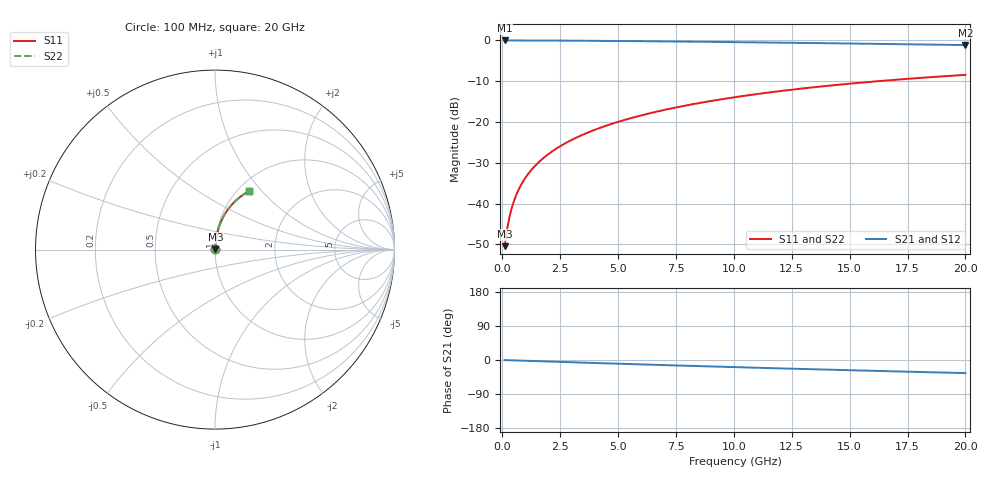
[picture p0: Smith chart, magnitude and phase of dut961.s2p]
! Touchstone file exported from HFSS 2024.1.0
!  File:  C:/UserFiles/LocalFiles/RDL_TSV_Batchsim/temp_RDL_bottom_961_1779942641.aedt
!  Generated:  12:33:13 PM May 28, 2026
!  Design:  RDL_bottom
!  Project:  temp_RDL_bottom_961_1779942641
!  Setup:  Setup1
!  Solution:  Sweep
! Variables:
!  dtsv = 10.80580581um
!  hbump = 3um
!  htsv = 97.01um
!  ldown = 442.63um
!  lrdl = 100um
!  p = 40
!  p1 = 53.14um
!  rhole = 1um
!  t = 450um
!  tdown = 4.78um
!  trdl = 3.915915916um
!  wdown = 16.04um
!  wrdl = 20um
# GHz S MA R 50.000000
! Terminal data exported
! Port[1] = RDL1_T1
! Port[2] = RDL1_T2
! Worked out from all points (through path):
!   200 points, 100 MHz to 20 GHz, reference 50 ohm
!   highest |S21| = -0.02 dB at 100 MHz (marker M1); lowest = -1.1 dB at 20 GHz (marker M2)
!   group delay of S21, straight-line fit = 4.78 ps
!   lowest |S11| = -50.4 dB at 100 MHz (marker M3), VSWR 1.01, Z = 50.2 + j0.211 ohm
!   |S11| at or under -10 dB: start of sweep to 16.22 GHz
!   |S22| runs from -50.4 to -8.4 dB; largest |S21 - S12| = 3.9e-15
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0.1  0.003013 44.2  0.9978 -0.2  0.9978 -0.2  0.003013 44.3
! Gamma 0 0 0 0
! Port Impedance 50 0 50 0
0.2  0.004737 62.5  0.9978 -0.4  0.9978 -0.4  0.004737 62.5
0.3  0.006677 70.4  0.9977 -0.6  0.9977 -0.6  0.006677 70.4
0.4  0.008682 74.6  0.9975 -0.8  0.9975 -0.8  0.008682 74.6
0.5  0.01071 77.1  0.9974 -1.0  0.9974 -1.0  0.01071 77.1
0.7  0.01476 79.9  0.9972 -1.4  0.9972 -1.4  0.01476 79.9
0.8  0.01678 80.7  0.9971 -1.6  0.9971 -1.6  0.01678 80.7
1  0.02079 81.8  0.9968 -2.0  0.9968 -2.0  0.02079 81.8
1.2  0.02478 82.5  0.9965 -2.4  0.9965 -2.4  0.02478 82.4
1.4  0.02875 82.9  0.9962 -2.8  0.9962 -2.8  0.02875 82.9
1.7  0.03468 83.3  0.9955 -3.4  0.9955 -3.4  0.03468 83.3
2  0.04062 83.5  0.9948 -4.0  0.9948 -4.0  0.04061 83.5
2.7  0.05447 83.5  0.9928 -5.4  0.9928 -5.4  0.05447 83.5
3.5  0.07038 83.0  0.9899 -7.0  0.9899 -7.0  0.07038 83.0
4.2  0.08437 82.5  0.9869 -8.3  0.9869 -8.3  0.08437 82.5
5  0.1004 81.6  0.9831 -9.8  0.9831 -9.8  0.1004 81.6
6.8  0.1366 79.5  0.9731 -13.1  0.9731 -13.1  0.1366 79.5
8.4  0.1687 77.2  0.9632 -16.0  0.9632 -16.0  0.1687 77.3
10.1  0.2024 74.7  0.9518 -18.9  0.9518 -18.9  0.2024 74.7
13.4  0.2657 69.6  0.928 -24.4  0.928 -24.4  0.2657 69.6
16.7  0.3245 64.5  0.9026 -29.6  0.9026 -29.6  0.3246 64.5
20  0.378 59.6  0.8764 -34.6  0.8764 -34.6  0.3781 59.6
